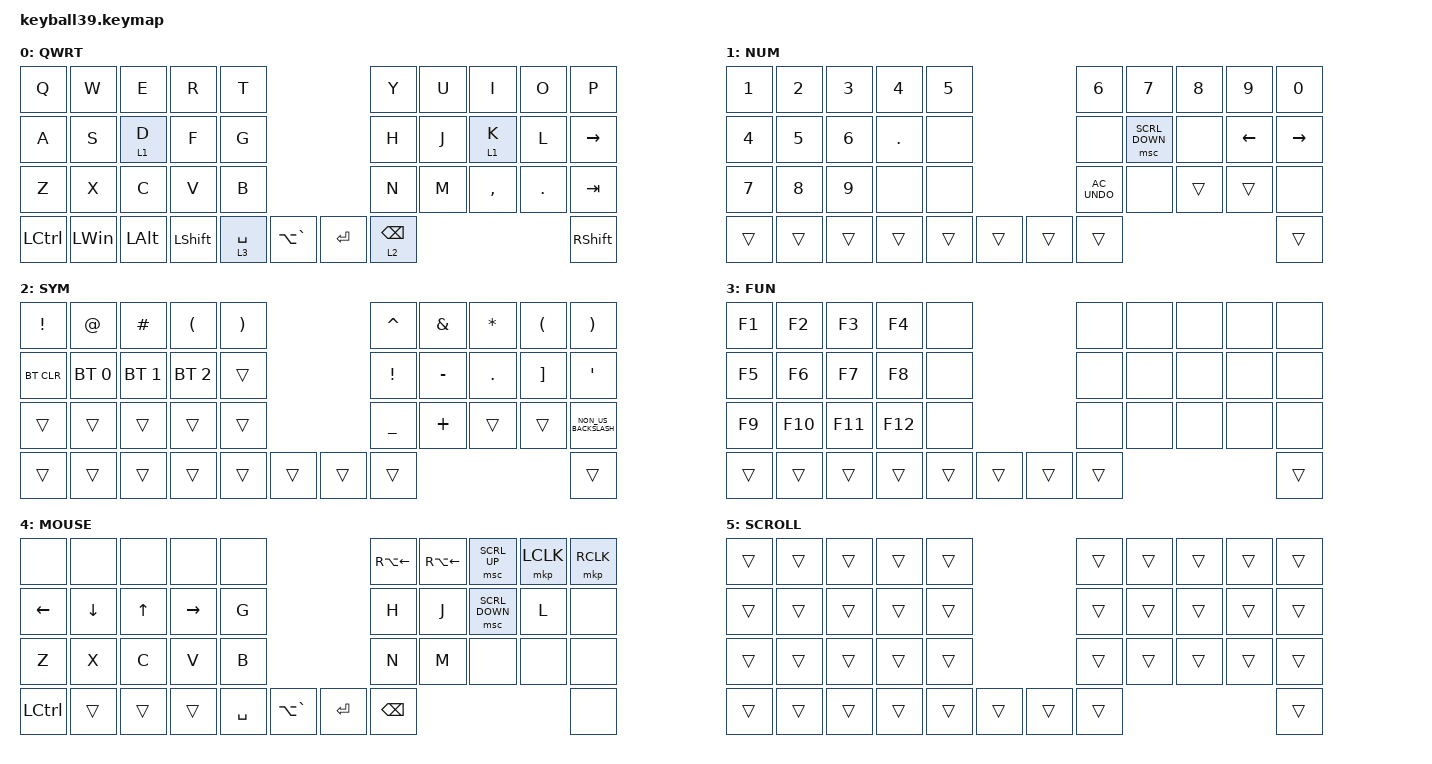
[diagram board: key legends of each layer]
#define DEFAULT 0
#define NUM     1
#define SYM     2
#define FUN     3
#define MOUSE   4
#define SCROLL  5
#define SNIPE   6

#include <behaviors/mouse_keys.dtsi>
#include <dt-bindings/zmk/mouse.h>
#include <dt-bindings/zmk/mouse.h>
#include <dt-bindings/zmk/mouse.h>
#include <behaviors.dtsi>
#include <dt-bindings/zmk/bt.h>
#include <dt-bindings/zmk/keys.h>
#include <dt-bindings/zmk/pointing.h>

&lt {
    tapping-term-ms = <240>;
    flavor = "balanced";
    quick-tap-ms = <150>;
};

&mt {
    tapping-term-ms = <200>;
    flavor = "tap-preferred";
    quick-tap-ms = <150>;
};

&caps_word { continue-list = <UNDERSCORE MINUS>; };

/ {
    // custom shift using mod-morph 

    behaviors {
        cmqus: comma_question {
            compatible = "zmk,behavior-mod-morph";
            label = "COMMA_QUESTION";
            #binding-cells = <0>;
            bindings = <&kp COMMA>, <&kp QUESTION>;

            mods = <(MOD_LSFT|MOD_RSFT)>;
        };

        dtsmi: dot_semi {
            compatible = "zmk,behavior-mod-morph";
            label = "DOT_SEMI";
            #binding-cells = <0>;
            bindings = <&kp DOT>, <&kp SEMI>;

            mods = <(MOD_LSFT|MOD_RSFT)>;
        };
    };

    macros {
        Hiragana: Hiragana {
            compatible = "zmk,behavior-macro";
            #binding-cells = <0>;
            bindings = <&kp LC(SPACE)>;
            label = "HIRAGANA";
        };
    };

    keymap {
        compatible = "zmk,keymap";

        default_layer {
            label = "QWRT";
            bindings = <
&kp Q      &kp W         &kp E     &kp R           &kp T                                  &kp Y            &kp U  &kp I      &kp O    &kp P
&kp A      &kp S         &lt 1 D   &kp F           &kp G                                  &kp H            &kp J  &lt 1 K    &kp L    &kp RIGHT
&kp Z      &kp X         &kp C     &kp V           &kp B                                  &kp N            &kp M  &kp COMMA  &kp DOT  &kp TAB
&kp LCTRL  &kp LEFT_WIN  &kp LALT  &kp LEFT_SHIFT  &lt 3 SPACE  &kp LA(GRAVE)  &kp ENTER  &lt 2 BACKSPACE                             &kp RSHFT
            >;
        };

        number_layer {
            label = "NUM";
            bindings = <
&kp NUMBER_1  &kp NUMBER_2  &kp NUMBER_3  &kp NUMBER_4  &kp NUMBER_5                  &kp NUMBER_6   &kp NUMBER_7    &kp NUMBER_8  &kp NUMBER_9  &kp NUMBER_0
&kp NUMBER_4  &kp N5        &kp NUMBER_6  &kp PERIOD    &none                         &none          &msc SCRL_DOWN  &none         &kp LEFT      &kp RIGHT_ARROW
&kp N7        &kp N8        &kp N9        &none         &none                         &kp C_AC_UNDO  &none           &trans        &trans        &none
&trans        &trans        &trans        &trans        &trans        &trans  &trans  &trans                                                     &trans
            >;
        };

        symbol_layer {
            label = "SYM";
            bindings = <
&kp EXCLAMATION  &kp AT_SIGN   &kp HASH      &kp LEFT_PARENTHESIS  &kp RIGHT_PARENTHESIS                  &kp CARET       &kp AMPERSAND  &kp ASTERISK  &kp LEFT_PARENTHESIS  &kp RIGHT_PARENTHESIS
&bt BT_CLR       &bt BT_SEL 0  &bt BT_SEL 1  &bt BT_SEL 2          &trans                                 &kp EXCL        &kp MINUS      &kp PERIOD    &kp RIGHT_BRACKET     &kp SQT
&trans           &trans        &trans        &trans                &trans                                 &kp UNDERSCORE  &kp PLUS       &trans        &trans                &kp NON_US_BACKSLASH
&trans           &trans        &trans        &trans                &trans                 &trans  &trans  &trans                                                             &trans
            >;
        };

        function_layer {
            label = "FUN";
            bindings = <
&kp F1  &kp F2   &kp F3   &kp F4   &none                   &none   &none  &none  &none  &none
&kp F5  &kp F6   &kp F7   &kp F8   &none                   &none   &none  &none  &none  &none
&kp F9  &kp F10  &kp F11  &kp F12  &none                   &none   &none  &none  &none  &none
&trans  &trans   &trans   &trans   &trans  &trans  &trans  &trans                       &trans
            >;
        };

        mouse_layer {
            label = "MOUSE";
            bindings = <
&none           &none           &none         &none      &none                                &kp RA(LEFT_ARROW)  &kp RA(LEFT_ARROW)  &msc SCRL_UP    &mkp LCLK  &mkp RCLK
&kp LEFT_ARROW  &kp DOWN_ARROW  &kp UP_ARROW  &kp RIGHT  &kp G                                &kp H               &kp J               &msc SCRL_DOWN  &kp L      &none
&kp Z           &kp X           &kp C         &kp V      &kp B                                &kp N               &kp M               &none           &none      &none
&kp LCTRL       &trans          &trans        &trans     &kp SPACE  &kp LA(GRAVE)  &kp ENTER  &kp BACKSPACE                                                      &none
            >;
        };

        scroll_layer {
            label = "SCROLL";
            bindings = <
&trans  &trans  &trans  &trans  &trans                  &trans  &trans  &trans  &trans  &trans
&trans  &trans  &trans  &trans  &trans                  &trans  &trans  &trans  &trans  &trans
&trans  &trans  &trans  &trans  &trans                  &trans  &trans  &trans  &trans  &trans
&trans  &trans  &trans  &trans  &trans  &trans  &trans  &trans                          &trans
            >;
        };
    };
};
